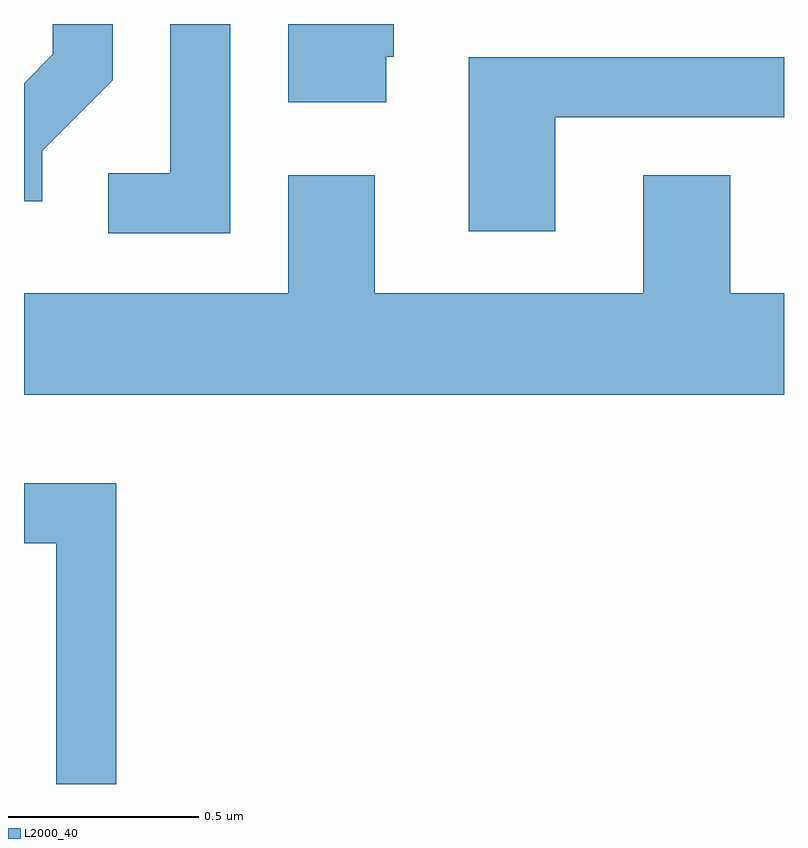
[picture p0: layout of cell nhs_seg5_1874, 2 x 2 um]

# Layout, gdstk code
import gdstk
lib = gdstk.Library(unit=1e-6, precision=1e-09)
def P(c, l, *ps):  # polygons
    for p in ps: c.add(gdstk.Polygon(p, *l))
L2000_40 = (2000, 40)

nhs_seg5_1874 = lib.new_cell('nhs_seg5_1874')
P(nhs_seg5_1874, L2000_40, [(199.154,1491.072),(198.996,1491.072),(198.996,1490.679),(198.833,1490.679),(198.833,1490.521),(199.154,1490.521)],
  [(199.564,1490.986),(199.584,1490.986),(199.584,1491.072),(199.306,1491.072),(199.306,1490.866),(199.564,1490.866)],
  [(198.659,1490.739),(198.844,1490.924),(198.844,1491.072),(198.686,1491.072),(198.686,1490.992),(198.611,1490.916),(198.611,1490.606),(198.659,1490.606)],
  [(200.009,1490.826),(200.611,1490.826),(200.611,1490.984),(199.781,1490.984),(199.781,1490.526),(200.009,1490.526)],
  [(200.611,1490.364),(200.469,1490.364),(200.469,1490.674),(200.241,1490.674),(200.241,1490.364),(199.534,1490.364),(199.534,1490.674),(199.306,1490.674),(199.306,1490.364),(198.611,1490.364),(198.611,1490.096),(200.611,1490.096)],
  [(198.854,1489.864),(198.611,1489.864),(198.611,1489.706),(198.696,1489.706),(198.696,1489.072),(198.854,1489.072)])

lib.write_gds('nhs_seg5_1874.gds')
